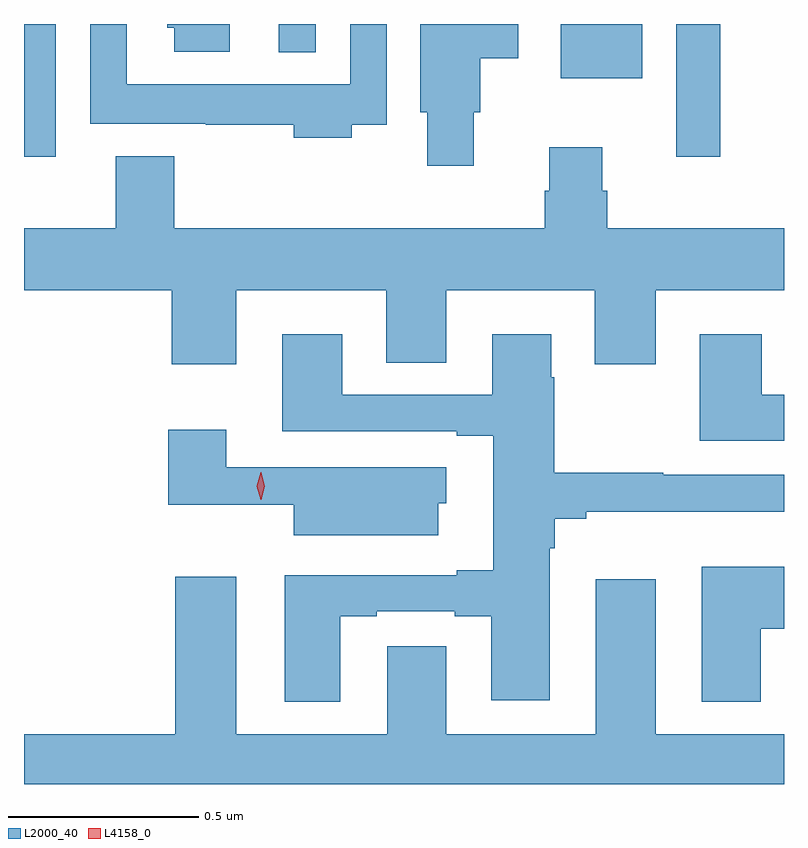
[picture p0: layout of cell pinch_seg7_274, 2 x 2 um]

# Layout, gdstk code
import gdstk
lib = gdstk.Library(unit=1e-6, precision=1e-09)
def R(c, l, rs):  # rectangles x0, y0, x1, y1
    for r in rs: c.add(gdstk.rectangle(r[:2], r[2:], *l))
def P(c, l, *ps):  # polygons
    for p in ps: c.add(gdstk.Polygon(p, *l))
L2000_40 = (2000, 40)
L4158_0 = (4158, 0)

pinch_seg7_274 = lib.new_cell('pinch_seg7_274')
R(pinch_seg7_274, L2000_40, [(804.771,1067.568,804.855,1067.917), (806.487,1067.568,806.603,1067.917), (806.183,1067.774,806.398,1067.917), (805.442,1067.843,805.539,1067.917)])
P(pinch_seg7_274, L2000_40, [(805.633,1067.652),(805.725,1067.652),(805.725,1067.917),(805.629,1067.917),(805.629,1067.758),(805.041,1067.758),(805.041,1067.917),(804.945,1067.917),(804.945,1067.654),(805.249,1067.654),(805.249,1067.652),(805.481,1067.652),(805.481,1067.618),(805.633,1067.618)],
  [(805.954,1067.685),(805.972,1067.685),(805.972,1067.827),(806.071,1067.827),(806.071,1067.917),(805.814,1067.917),(805.814,1067.685),(805.832,1067.685),(805.832,1067.544),(805.954,1067.544)],
  [(805.312,1067.917),(805.148,1067.917),(805.148,1067.907),(805.166,1067.907),(805.166,1067.844),(805.312,1067.844)],
  [(805.33,1067.216),(805.724,1067.216),(805.724,1067.026),(805.882,1067.026),(805.882,1067.216),(806.273,1067.216),(806.273,1067.022),(806.434,1067.022),(806.434,1067.216),(806.771,1067.216),(806.771,1067.38),(806.306,1067.38),(806.306,1067.478),(806.293,1067.478),(806.293,1067.593),(806.153,1067.593),(806.153,1067.478),(806.141,1067.478),(806.141,1067.38),(805.166,1067.38),(805.166,1067.569),(805.013,1067.569),(805.013,1067.38),(804.771,1067.38),(804.771,1067.216),(805.16,1067.216),(805.16,1067.022),(805.33,1067.022)],
  [(805.603,1066.359),(805.699,1066.359),(805.699,1066.371),(805.904,1066.371),(805.904,1066.359),(806,1066.359),(806,1066.137),(806.155,1066.137),(806.155,1066.538),(806.168,1066.538),(806.168,1066.615),(806.251,1066.615),(806.251,1066.634),(806.771,1066.634),(806.771,1066.731),(806.453,1066.731),(806.453,1066.736),(806.166,1066.736),(806.166,1066.988),(806.158,1066.988),(806.158,1067.101),(806.003,1067.101),(806.003,1066.941),(805.609,1066.941),(805.609,1067.101),(805.451,1067.101),(805.451,1066.845),(805.91,1066.845),(805.91,1066.833),(806.006,1066.833),(806.006,1066.48),(805.91,1066.48),(805.91,1066.467),(805.457,1066.467),(805.457,1066.134),(805.603,1066.134)],
  [(806.771,1066.942),(806.713,1066.942),(806.713,1067.101),(806.549,1067.101),(806.549,1066.82),(806.771,1066.82)],
  [(805.861,1066.656),(805.882,1066.656),(805.882,1066.75),(805.303,1066.75),(805.303,1066.849),(805.151,1066.849),(805.151,1066.652),(805.481,1066.652),(805.481,1066.571),(805.861,1066.571)],
  [(806.71,1066.325),(806.771,1066.325),(806.771,1066.489),(806.555,1066.489),(806.555,1066.133),(806.71,1066.133)],
  [(806.771,1066.048),(806.434,1066.048),(806.434,1066.456),(806.276,1066.456),(806.276,1066.048),(805.882,1066.048),(805.882,1066.279),(805.727,1066.279),(805.727,1066.048),(805.33,1066.048),(805.33,1066.462),(805.169,1066.462),(805.169,1066.048),(804.771,1066.048),(804.771,1065.917),(806.771,1065.917)])
P(pinch_seg7_274, L4158_0, [(805.394,1066.665),(805.394,1066.665),(805.384,1066.701),(805.394,1066.737),(805.394,1066.737),(805.395,1066.737),(805.404,1066.701),(805.395,1066.665)])

lib.write_gds('pinch_seg7_274.gds')
